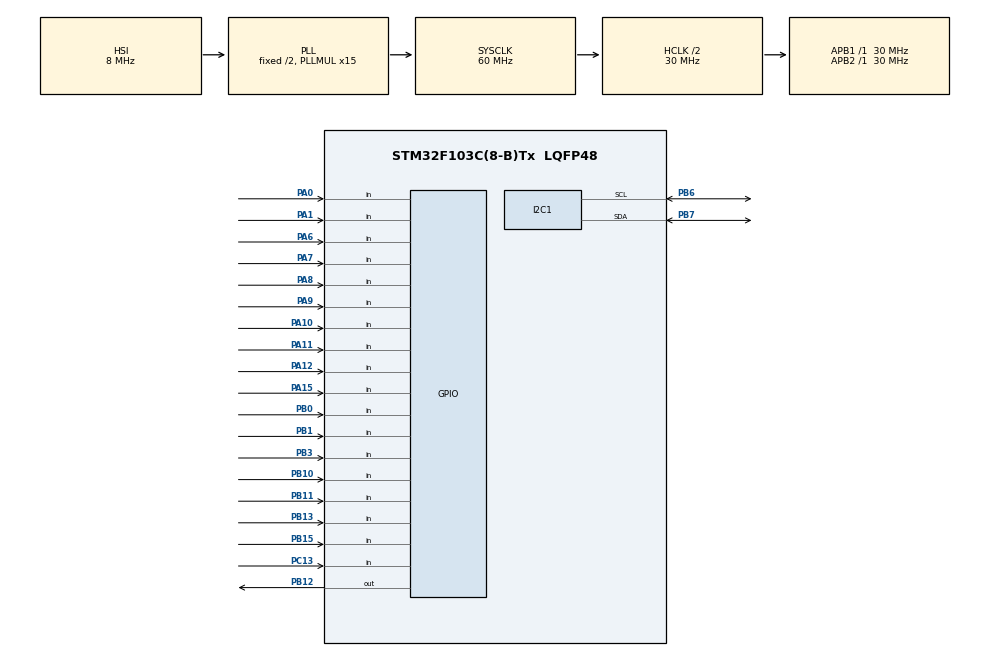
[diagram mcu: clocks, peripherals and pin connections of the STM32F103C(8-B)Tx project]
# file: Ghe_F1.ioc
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Mcu.Family=STM32F1
Mcu.Name=STM32F103C(8-B)Tx
Mcu.Package=LQFP48
NVIC.PriorityGroup=NVIC_PRIORITYGROUP_4
PA0-WKUP.GPIO_PuPd=GPIO_PULLDOWN
PA0-WKUP.Signal=GPIO_Input
PA1.GPIO_PuPd=GPIO_PULLDOWN
PA1.Signal=GPIO_Input
PA10.GPIO_PuPd=GPIO_PULLDOWN
PA10.Signal=GPIO_Input
PA11.GPIO_PuPd=GPIO_PULLDOWN
PA11.Signal=GPIO_Input
PA12.GPIO_PuPd=GPIO_PULLDOWN
PA12.Signal=GPIO_Input
PA13.Mode=Serial_Wire
PA13.Signal=SYS_JTMS-SWDIO
PA14.Mode=Serial_Wire
PA14.Signal=SYS_JTCK-SWCLK
PA15.GPIO_PuPd=GPIO_PULLDOWN
PA15.Signal=GPIO_Input
PA6.GPIO_PuPd=GPIO_PULLDOWN
PA6.Signal=GPIO_Input
PA7.GPIO_PuPd=GPIO_PULLDOWN
PA7.Signal=GPIO_Input
PA8.GPIO_PuPd=GPIO_PULLDOWN
PA8.Signal=GPIO_Input
PA9.GPIO_PuPd=GPIO_PULLDOWN
PA9.Signal=GPIO_Input
PB0.GPIO_PuPd=GPIO_PULLDOWN
PB0.Signal=GPIO_Input
PB1.GPIO_PuPd=GPIO_PULLDOWN
PB1.Signal=GPIO_Input
PB10.GPIO_PuPd=GPIO_PULLDOWN
PB10.Signal=GPIO_Input
PB11.GPIO_PuPd=GPIO_PULLDOWN
PB11.Signal=GPIO_Input
PB12.Signal=GPIO_Output
PB13.GPIO_PuPd=GPIO_PULLUP
PB13.Signal=GPIO_Input
PB15.GPIO_PuPd=GPIO_PULLDOWN
PB15.Signal=GPIO_Input
PB3.GPIO_PuPd=GPIO_PULLDOWN
PB3.Signal=GPIO_Input
PB6.Mode=I2C
PB6.Signal=I2C1_SCL
PB7.Mode=I2C
PB7.Signal=I2C1_SDA
PC13-TAMPER-RTC.GPIO_PuPd=GPIO_PULLDOWN
PC13-TAMPER-RTC.Signal=GPIO_Input
PD0-OSC_IN.Mode=HSE-External-Oscillator
PD0-OSC_IN.Signal=RCC_OSC_IN
PD1-OSC_OUT.Mode=HSE-External-Oscillator
PD1-OSC_OUT.Signal=RCC_OSC_OUT
ProjectManager.HeapSize=0x200
ProjectManager.StackSize=0x400
ProjectManager.TargetToolchain=STM32CubeIDE
RCC.AHBCLKDivider=RCC_SYSCLK_DIV2
RCC.AHBFreq_Value=30000000
RCC.APB1Freq_Value=30000000
RCC.APB1TimFreq_Value=30000000
RCC.APB2Freq_Value=30000000
RCC.APB2TimFreq_Value=30000000
RCC.HCLKFreq_Value=30000000
RCC.PLLMUL=RCC_PLL_MUL15
RCC.SYSCLKFreq_VALUE=60000000
RCC.SYSCLKSource=RCC_SYSCLKSOURCE_PLLCLK
RCC.USBFreq_Value=60000000
TIM2.Prescaler=15
VP_TIM2_VS_ClockSourceINT.Mode=Internal
board=custom

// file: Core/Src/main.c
/* USER CODE BEGIN Header */
/**
  ******************************************************************************
  * @file           : main.c
  * @brief          : Main program body
  ******************************************************************************
  * @attention
  *
  * Copyright (c) 2026 STMicroelectronics.
  * All rights reserved.
  *
  * This software is licensed under terms that can be found in the LICENSE file
  * in the root directory of this software component.
  * If no LICENSE file comes with this software, it is provided AS-IS.
  *
  ******************************************************************************
  */
/* USER CODE END Header */
#include "main.h"

I2C_HandleTypeDef hi2c1;

TIM_HandleTypeDef htim2;

void SystemClock_Config(void);
static void MX_GPIO_Init(void);
static void MX_I2C1_Init(void);
static void MX_TIM2_Init(void);

/* USER CODE BEGIN 0 */
#define F411_I2C_ADDR  (0x20<<1) // Bắt buộc phải dịch trái 1 bit
/* USER CODE BEGIN 0 */
uint8_t int_Tem   = 0 ;
uint8_t float_Tem = 0 ;
uint8_t int_Hum   = 0 ;
uint8_t float_Hum = 0 ;
uint8_t CheckSum  = 0 ;

typedef struct {
    uint8_t physical_state;
    uint8_t confirmed_state;
    uint32_t last_time;
    uint8_t zero_count; // ← THÊM BỘ ĐẾM SỐ LẦN LIÊN TIẾP ĐỌC = 0
} Seat_t;

Seat_t seats[15]; // Mảng quản lý 14 cái ghế (12 nút nhấn + 2 ADC)
uint8_t flag_send_i2c = 0;   // Cờ báo hiệu cần gửi data lên F411
uint16_t all_seats_data = 0; // Biến 2 byte gom trạng thái các ghế

typedef struct {
    GPIO_TypeDef* port;
    uint16_t pin;
} Seat_Pin_Map_t;

// Đã đếm chuẩn 12 phần tử (Từ index 0 đến 11)
const Seat_Pin_Map_t SeatPins[15] = {
		{GPIOB,GPIO_PIN_11},//5 0
		{GPIOB,GPIO_PIN_1},  //1
		{GPIOB,GPIO_PIN_10},//0  2
		{GPIOB,GPIO_PIN_0},//7   3
		{GPIOA,GPIO_PIN_7},//9  4
		{GPIOA,GPIO_PIN_6},//8  5
		{GPIOA,GPIO_PIN_1},//11  6
		{GPIOA,GPIO_PIN_0},//10  7
		{GPIOB,GPIO_PIN_15},  //8
		{GPIOA,GPIO_PIN_8},//1  //9
		{GPIOA,GPIO_PIN_9},//2  10
		{GPIOA,GPIO_PIN_10},//4  11
		{GPIOC,GPIO_PIN_13},//12   12
		{GPIOC,GPIO_PIN_13},      //13
		{GPIOC,GPIO_PIN_13},//4  14

//		{GPIOB,GPIO_PIN_10},//0
//		{GPIOA,GPIO_PIN_8},//1
//		{GPIOA,GPIO_PIN_9},//2
//		{GPIOA,GPIO_PIN_10},//3
//		{GPIOA,GPIO_PIN_11},//4
//		//{GPIOA,GPIO_PIN_12},//5
//
//		//{GPIOB,GPIO_PIN_3},//7
//		{GPIOB,GPIO_PIN_13},//6
//		{GPIOB,GPIO_PIN_0},//7
//		{GPIOA,GPIO_PIN_6},//8
//		{GPIOA,GPIO_PIN_7},//9
//		{GPIOA,GPIO_PIN_0},//10
//		{GPIOA,GPIO_PIN_1},//11
//		{GPIOA,GPIO_PIN_15},//12
};

uint8_t Read_Seat_Hardware(uint8_t index) {
    // Chỉ đọc GPIO cho 12 ghế đầu tiên để tránh tràn mảng SeatPins
    if (index < 15) {
    	GPIO_TypeDef* current_port = SeatPins[index].port;
    	uint16_t current_pin = SeatPins[index].pin;
    	if (HAL_GPIO_ReadPin(current_port, current_pin) == GPIO_PIN_SET){
    		HAL_Delay(50);
    		return 1;
    	}
    	else if (HAL_GPIO_ReadPin(current_port, current_pin) == 0){
    		HAL_Delay(50);
    		return 0;
    	}
    }
    return 0;
}

//void Scan_All_Seats(void) {
//    // Quét đúng 15 ghế
//    for (int i = 0; i < 15; i++) {
//        uint8_t current_sensor = Read_Seat_Hardware(i);
//
//        if (current_sensor != seats[i].physical_state) {
//            // Trạng thái vật lý thay đổi -> cập nhật và reset mốc thời gian
//            seats[i].physical_state = current_sensor;
//            seats[i].last_time = HAL_GetTick();
//        }
//        else {
//            // Trạng thái vật lý đang giữ nguyên liên tục
//            uint32_t delay_thoi_gian;
//
//            // --- THIẾT LẬP THỜI GIAN CHỜ BẤT ĐỐI XỨNG ---
//            if (current_sensor == 1) {
//                // Người mới ngồi xuống: Chỉ cần giữ 0.5 giây là xác nhận có người
//                delay_thoi_gian = 1000;
//            } else {
//                // Người đứng lên (hoặc cảm biến tự ngắt): Chờ hẳn 3 giây mới xác nhận ghế trống
//                // Nếu trong 3 giây này tín hiệu bật lại mức 1, nó sẽ reset lại quá trình đếm
//                delay_thoi_gian = 30000;
//            }
//
//            // Nếu giữ trạng thái đủ thời gian yêu cầu
//            if (HAL_GetTick() - seats[i].last_time >= delay_thoi_gian) {
//
//                if (seats[i].confirmed_state != seats[i].physical_state) {
//                    seats[i].confirmed_state = seats[i].physical_state;
//
//                    if (seats[i].confirmed_state == 1) {
//                        all_seats_data |= (1 << i);  // Set bit lên 1 (Có người)
//                    } else {
//                        all_seats_data &= ~(1 << i); // Xóa bit về 0 (Trống)
//                    }
//
//                    flag_send_i2c = 1; // Bật cờ gửi data lên F4
//                }
//            }
//        }
//    }
//}
void Scan_All_Seats(void) {
    for (int i = 0; i < 15; i++) {
        uint8_t current_sensor = Read_Seat_Hardware(i);

        if (current_sensor != seats[i].physical_state) {
            // Trạng thái thay đổi → lưu lại và bắt đầu đếm 3 giây
            seats[i].physical_state = current_sensor;
            seats[i].last_time = HAL_GetTick();
        }
        else {
            // Giữ nguyên trạng thái → kiểm tra đủ 3 giây chưa
            if (HAL_GetTick() - seats[i].last_time >= 1000) {

                if (current_sensor == 1) {
                    // Giữ mức 1 đủ 3s → xác nhận có người
                    if (seats[i].confirmed_state != 1) {
                        seats[i].confirmed_state = 1;
                        all_seats_data |= (1 << i);
                        flag_send_i2c = 1;
                    }
                }
                else {
                    // Giữ mức 0 đủ 3s → xác nhận ghế trống
                    if (seats[i].confirmed_state != 0) {
                        seats[i].confirmed_state = 0;
                        all_seats_data &= ~(1 << i);
                        flag_send_i2c = 1;
                    }
                }
            }
        }
    }
}

uint8_t tx_buffer[4];
void xu_ly(uint16_t giatri){
	 // Tăng lên 3 byte
	tx_buffer[0] = 0x01;  // Gắn nhãn ID = 0x01 (Dữ liệu ghế)
	tx_buffer[1] = (giatri >> 8) & 0xFF; // Lấy byte cao
	tx_buffer[2] = giatri & 0xFF;        // Lấy byte thấp
	tx_buffer[3]= 0x09;
}
uint32_t doc = 0;
uint8_t trang_thai_cu = 1; // Trạng thái trước đó (mặc định nhả = 1)

void am_thanh(void) {
    uint8_t trang_thai_hien = HAL_GPIO_ReadPin(GPIOB, GPIO_PIN_13);

    // Phát hiện nhấn xuống (cạnh xuống: 1 → 0)
    if (trang_thai_hien == 0 && trang_thai_cu == 1) {
        doc = HAL_GetTick(); // Lưu thời điểm bắt đầu nhấn
    }

    // Kiểm tra giữ đủ 1 giây
    if (trang_thai_hien == 0 && (HAL_GetTick() - doc >= 500)) {
        // Xử lý ở đây
    	HAL_GPIO_TogglePin(GPIOB, GPIO_PIN_12);
        doc = HAL_GetTick(); // Reset để không gọi liên tục
    }

    trang_thai_cu = trang_thai_hien;
}
//uint8_t data = 23;
/* USER CODE END 0 */

int main(void)
{

  /* MCU Configuration--------------------------------------------------------*/

  /* Reset of all peripherals, Initializes the Flash interface and the Systick. */
  HAL_Init();

  /* Configure the system clock */
  SystemClock_Config();

  /* Initialize all configured peripherals */
  MX_GPIO_Init();
  MX_I2C1_Init();
  MX_TIM2_Init();
  /* USER CODE BEGIN 2 */
//  HAL_I2C_Master_Transmit(&hi2c1,(0x20<<1), &data, 1, 100);
  HAL_Delay(1000);
  HAL_StatusTypeDef trangthai;
  /* USER CODE END 2 */

  /* Infinite loop */
  /* USER CODE BEGIN WHILE */
  while (1)
  {
	 // HAL_Delay(2000);
    Scan_All_Seats();
    if (flag_send_i2c==1){

    	xu_ly(all_seats_data);
    	//HAL_Delay(20);
			trangthai = HAL_I2C_Master_Transmit(&hi2c1, F411_I2C_ADDR,(uint8_t*) &tx_buffer[0], 1, 1000);
			HAL_Delay(200);
			trangthai = HAL_I2C_Master_Transmit(&hi2c1, F411_I2C_ADDR,(uint8_t*) &tx_buffer[1], 1, 1000);
			HAL_Delay(200);
			trangthai = HAL_I2C_Master_Transmit(&hi2c1, F411_I2C_ADDR,(uint8_t*) &tx_buffer[2], 1, 1000);
			HAL_Delay(200);
			trangthai = HAL_I2C_Master_Transmit(&hi2c1, F411_I2C_ADDR,(uint8_t*) &tx_buffer[3], 1, 1000);
			flag_send_i2c =0;
    }
      am_thanh();

     	 HAL_Delay(200);

    /* USER CODE END WHILE */

  }
}

void SystemClock_Config(void)
{
  RCC_OscInitTypeDef RCC_OscInitStruct = {0};
  RCC_ClkInitTypeDef RCC_ClkInitStruct = {0};

  /** Initializes the RCC Oscillators according to the specified parameters
  * in the RCC_OscInitTypeDef structure.
  */
  RCC_OscInitStruct.OscillatorType = RCC_OSCILLATORTYPE_HSI;
  RCC_OscInitStruct.HSIState = RCC_HSI_ON;
  RCC_OscInitStruct.HSICalibrationValue = RCC_HSICALIBRATION_DEFAULT;
  RCC_OscInitStruct.PLL.PLLState = RCC_PLL_ON;
  RCC_OscInitStruct.PLL.PLLSource = RCC_PLLSOURCE_HSI_DIV2;
  RCC_OscInitStruct.PLL.PLLMUL = RCC_PLL_MUL15;
  if (HAL_RCC_OscConfig(&RCC_OscInitStruct) != HAL_OK)
  {
    Error_Handler();
  }

  /** Initializes the CPU, AHB and APB buses clocks
  */
  RCC_ClkInitStruct.ClockType = RCC_CLOCKTYPE_HCLK|RCC_CLOCKTYPE_SYSCLK
                              |RCC_CLOCKTYPE_PCLK1|RCC_CLOCKTYPE_PCLK2;
  RCC_ClkInitStruct.SYSCLKSource = RCC_SYSCLKSOURCE_PLLCLK;
  RCC_ClkInitStruct.AHBCLKDivider = RCC_SYSCLK_DIV2;
  RCC_ClkInitStruct.APB1CLKDivider = RCC_HCLK_DIV1;
  RCC_ClkInitStruct.APB2CLKDivider = RCC_HCLK_DIV1;

  if (HAL_RCC_ClockConfig(&RCC_ClkInitStruct, FLASH_LATENCY_2) != HAL_OK)
  {
    Error_Handler();
  }
}

static void MX_I2C1_Init(void)
{

  hi2c1.Instance = I2C1;
  hi2c1.Init.ClockSpeed = 100000;
  hi2c1.Init.DutyCycle = I2C_DUTYCYCLE_2;
  hi2c1.Init.OwnAddress1 = 0;
  hi2c1.Init.AddressingMode = I2C_ADDRESSINGMODE_7BIT;
  hi2c1.Init.DualAddressMode = I2C_DUALADDRESS_DISABLE;
  hi2c1.Init.OwnAddress2 = 0;
  hi2c1.Init.GeneralCallMode = I2C_GENERALCALL_DISABLE;
  hi2c1.Init.NoStretchMode = I2C_NOSTRETCH_DISABLE;
  if (HAL_I2C_Init(&hi2c1) != HAL_OK)
  {
    Error_Handler();
  }

}

static void MX_TIM2_Init(void)
{

  TIM_ClockConfigTypeDef sClockSourceConfig = {0};
  TIM_MasterConfigTypeDef sMasterConfig = {0};

  htim2.Instance = TIM2;
  htim2.Init.Prescaler = 15;
  htim2.Init.CounterMode = TIM_COUNTERMODE_UP;
  htim2.Init.Period = 65535;
  htim2.Init.ClockDivision = TIM_CLOCKDIVISION_DIV1;
  htim2.Init.AutoReloadPreload = TIM_AUTORELOAD_PRELOAD_DISABLE;
  if (HAL_TIM_Base_Init(&htim2) != HAL_OK)
  {
    Error_Handler();
  }
  sClockSourceConfig.ClockSource = TIM_CLOCKSOURCE_INTERNAL;
  if (HAL_TIM_ConfigClockSource(&htim2, &sClockSourceConfig) != HAL_OK)
  {
    Error_Handler();
  }
  sMasterConfig.MasterOutputTrigger = TIM_TRGO_RESET;
  sMasterConfig.MasterSlaveMode = TIM_MASTERSLAVEMODE_DISABLE;
  if (HAL_TIMEx_MasterConfigSynchronization(&htim2, &sMasterConfig) != HAL_OK)
  {
    Error_Handler();
  }

}

static void MX_GPIO_Init(void)
{
  GPIO_InitTypeDef GPIO_InitStruct = {0};

  /* GPIO Ports Clock Enable */
  __HAL_RCC_GPIOC_CLK_ENABLE();
  __HAL_RCC_GPIOD_CLK_ENABLE();
  __HAL_RCC_GPIOA_CLK_ENABLE();
  __HAL_RCC_GPIOB_CLK_ENABLE();

  /*Configure GPIO pin Output Level */
  HAL_GPIO_WritePin(GPIOB, GPIO_PIN_12, GPIO_PIN_RESET);

  /*Configure GPIO pin : PC13 */
  GPIO_InitStruct.Pin = GPIO_PIN_13;
  GPIO_InitStruct.Mode = GPIO_MODE_INPUT;
  GPIO_InitStruct.Pull = GPIO_PULLDOWN;
  HAL_GPIO_Init(GPIOC, &GPIO_InitStruct);

  /*Configure GPIO pins : PA0 PA1 PA6 PA7
                           PA8 PA9 PA10 PA11
                           PA12 PA15 */
  GPIO_InitStruct.Pin = GPIO_PIN_0|GPIO_PIN_1|GPIO_PIN_6|GPIO_PIN_7
                          |GPIO_PIN_8|GPIO_PIN_9|GPIO_PIN_10|GPIO_PIN_11
                          |GPIO_PIN_12|GPIO_PIN_15;
  GPIO_InitStruct.Mode = GPIO_MODE_INPUT;
  GPIO_InitStruct.Pull = GPIO_PULLDOWN;
  HAL_GPIO_Init(GPIOA, &GPIO_InitStruct);

  /*Configure GPIO pins : PB0 PB1 PB10 PB11
                           PB15 PB3 */
  GPIO_InitStruct.Pin = GPIO_PIN_0|GPIO_PIN_1|GPIO_PIN_10|GPIO_PIN_11
                          |GPIO_PIN_15|GPIO_PIN_3;
  GPIO_InitStruct.Mode = GPIO_MODE_INPUT;
  GPIO_InitStruct.Pull = GPIO_PULLDOWN;
  HAL_GPIO_Init(GPIOB, &GPIO_InitStruct);

  /*Configure GPIO pin : PB12 */
  GPIO_InitStruct.Pin = GPIO_PIN_12;
  GPIO_InitStruct.Mode = GPIO_MODE_OUTPUT_PP;
  GPIO_InitStruct.Pull = GPIO_NOPULL;
  GPIO_InitStruct.Speed = GPIO_SPEED_FREQ_LOW;
  HAL_GPIO_Init(GPIOB, &GPIO_InitStruct);

  /*Configure GPIO pin : PB13 */
  GPIO_InitStruct.Pin = GPIO_PIN_13;
  GPIO_InitStruct.Mode = GPIO_MODE_INPUT;
  GPIO_InitStruct.Pull = GPIO_PULLUP;
  HAL_GPIO_Init(GPIOB, &GPIO_InitStruct);

}

void Error_Handler(void)
{
  __disable_irq();
  while (1)
  {
  }
}
